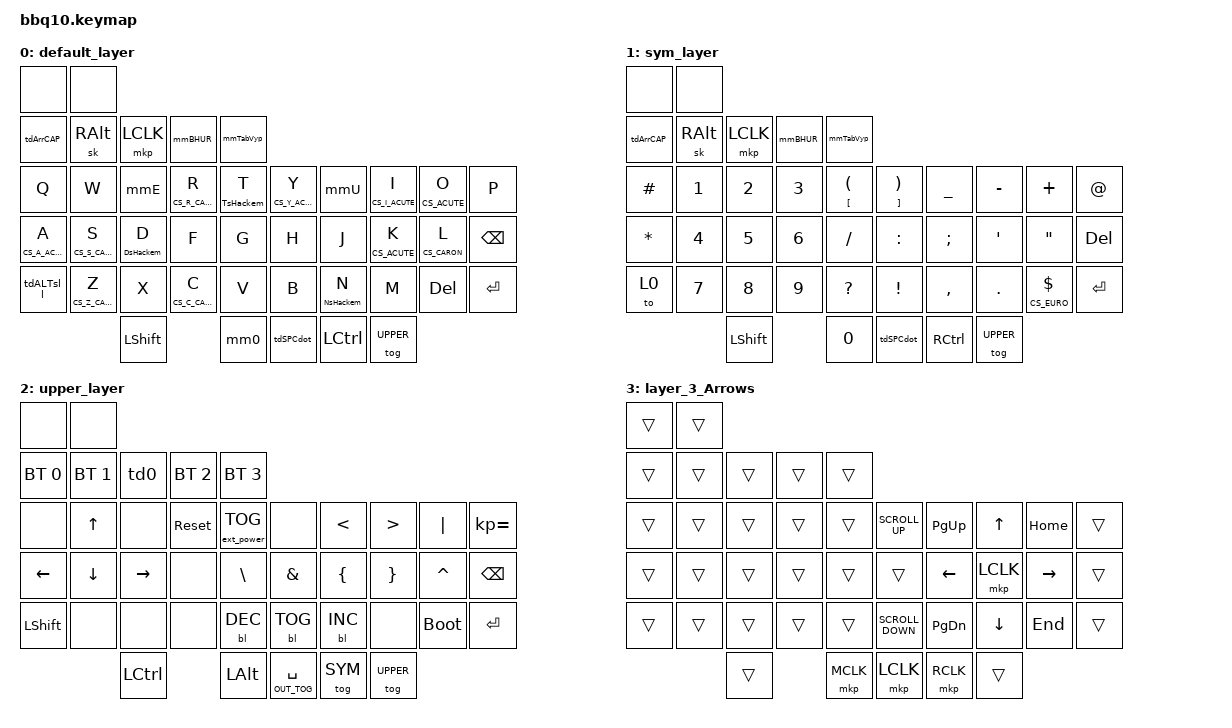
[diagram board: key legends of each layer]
/*
 * Copyright (c) 2023 ZitaoTech
 *
 * SPDX-License-Identifier: MIT
 */

#include "keys_cs_qwerty.h"
#include <behaviors.dtsi>
#include <dt-bindings/zmk/backlight.h>
#include <dt-bindings/zmk/bt.h>
#include <dt-bindings/zmk/ext_power.h>
#include <dt-bindings/zmk/keys.h>
#include <dt-bindings/zmk/mouse.h>
#include <dt-bindings/zmk/outputs.h>

#define SYM 1
#define UPPER 2

/ {
    behaviors {
        td0: tap_dance_0 {
            compatible = "zmk,behavior-tap-dance";
            #binding-cells = <0>;
            tapping-term-ms = <400>;
            bindings = <&mkp LCLK>, <&bt BT_CLR>;
        };
    };

    behaviors {
        hm: homerow_mods {
            compatible = "zmk,behavior-hold-tap";
            #binding-cells = <2>;
            tapping-term-ms = <500>;
            bindings = <&out &kp>;
        };

        mmE: mmE {
            compatible = "zmk,behavior-mod-morph";
            label = "ruzne varianty E";
            bindings = <&mt CS_E_ACUTE E>, <&kp CS_E_CARON>;

            #binding-cells = <0>;
            mods = <(MOD_RCTL|MOD_LCTL)>;
        };

        mmU: mmU {
            compatible = "zmk,behavior-mod-morph";
            label = "varianty U";
            bindings = <&mt CS_U_ACUTE U>, <&kp CS_U_RING>;

            #binding-cells = <0>;
            mods = <(MOD_LCTL|MOD_RCTL)>;
        };

        mm0: mm0 {
            compatible = "zmk,behavior-mod-morph";
            label = "SwiftKey0_3 and PrintScreen";
            bindings = <&mt LC(RA(NUMBER_3)) LC(RA(N1))>, <&kp PRINTSCREEN>;

            #binding-cells = <0>;
            mods = <(MOD_LCTL|MOD_RCTL)>;
        };

        tdSPCdot: tdSPCdot {
            compatible = "zmk,behavior-tap-dance";
            label = "TapDance Space or Dot";
            #binding-cells = <0>;
            bindings = <&kp SPACE>, <&kp CS_DOT>;
        };

        htN: htN {
            compatible = "zmk,behavior-hold-tap";
            label = "HoldTap N";
            bindings = <&NsHackem>, <&kp>;

            #binding-cells = <2>;
            tapping-term-ms = <200>;
            flavor = "tap-preferred";
        };

        htT: htT {
            compatible = "zmk,behavior-hold-tap";
            label = "holdTap T variant";
            bindings = <&TsHackem>, <&kp>;

            #binding-cells = <2>;
            tapping-term-ms = <200>;
            flavor = "tap-preferred";
        };

        htD: htD {
            compatible = "zmk,behavior-hold-tap";
            label = "HoldTap D variant";
            bindings = <&DsHackem>, <&kp>;

            #binding-cells = <2>;
            tapping-term-ms = <200>;
            flavor = "tap-preferred";
        };

        tdALTsl_l: tdALTsl_l {
            compatible = "zmk,behavior-tap-dance";
            label = "TapDance Alt Sticky Layer vs Layer";
            #binding-cells = <0>;
            tapping-term-ms = <250>;
            bindings = <&sl 1>, <&tog 1>;
        };

        tdArrCAP: tdArrCAP {
            compatible = "zmk,behavior-tap-dance";
            label = "TapDance ArrowLayer vs CAP ";
            #binding-cells = <0>;
            tapping-term-ms = <250>;
            bindings = <&mo 3>, <&kp CAPS>;
        };

        mmBHUR: mmBHUR {
            compatible = "zmk,behavior-mod-morph";
            label = "ModMorph BackHome UndoRedo";
            bindings = <&mt LG(RETURN) K_BACK>, <&mt LC(LS(Z)) LC(Z)>;

            #binding-cells = <0>;
            mods = <(MOD_LCTL|MOD_RCTL)>;
        };

        mmTabVyp: mmTabVyp {
            compatible = "zmk,behavior-mod-morph";
            label = "ModMorph TabMenu vs Switchoffs";
            bindings = <&mt K_APP TAB>, <&htAOFFtog 0 EP_TOG>;

            #binding-cells = <0>;
            mods = <(MOD_LCTL|MOD_RCTL)>;
        };

        htAOFFtog: htAOFFtog {
            compatible = "zmk,behavior-hold-tap";
            label = "HoldTap AllOff or Toggle";
            bindings = <&mSOPK>, <&ext_power>;

            #binding-cells = <2>;
            tapping-term-ms = <500>;
        };
    };

    macros {
        TsHackem: TsHackem {
            compatible = "zmk,behavior-macro";
            #binding-cells = <0>;
            bindings = <&kp CS_CARON &kp T>;
            label = "TSHACKEM";
        };

        NsHackem: NsHackem {
            compatible = "zmk,behavior-macro";
            #binding-cells = <0>;
            bindings = <&kp CS_CARON &kp N>;
            label = "NSHACKEM";
        };

        DsHackem: DsHackem {
            compatible = "zmk,behavior-macro";
            #binding-cells = <0>;
            bindings = <&kp CS_CARON &kp D>;
            label = "DSHACKEM";
        };

        mSOPK: mSOPK {
            compatible = "zmk,behavior-macro";
            #binding-cells = <0>;
            bindings = <&ext_power EP_TOG &kp K_COFFEE>;
            label = "MSOPK";
        };
    };

    keymap {
        compatible = "zmk,keymap";

        default_layer {
            bindings = <
&none             &none
&tdArrCAP         &sk RIGHT_ALT     &mkp LCLK       &mmBHUR           &mmTabVyp
&kp Q             &kp W             &mmE            &mt CS_R_CARON R  &htT 0 T   &mt CS_Y_ACUTE Y    &mmU       &mt CS_I_ACUTE I  &mt CS_ACUTE O  &kp P
&mt CS_A_ACUTE A  &mt CS_S_CARON S  &htD 0 D        &kp F             &kp G      &kp H               &kp J      &mt CS_ACUTE K    &mt CS_CARON L  &kp BSPC
&tdALTsl_l        &mt CS_Z_CARON Z  &kp X           &mt CS_C_CARON C  &kp V      &kp B               &htN 0 N   &kp M             &kp DELETE      &kp ENTER
                                    &kp LEFT_SHIFT                    &mm0       &tdSPCdot           &kp LCTRL  &tog UPPER
            >;
        };

        sym_layer {
            bindings = <
&none      &none
&tdArrCAP  &sk RIGHT_ALT  &mkp LCLK       &mmBHUR  &mmTabVyp
&kp HASH   &kp N1         &kp N2          &kp N3   &mt LBKT LPAR  &mt RBKT RPAR    &kp UNDER  &kp MINUS   &kp PLUS          &kp AT
&kp STAR   &kp N4         &kp N5          &kp N6   &kp SLASH      &kp COLON        &kp SEMI   &kp APOS    &kp DQT           &kp DEL
&to 0      &kp N7         &kp N8          &kp N9   &kp QMARK      &kp EXCL         &kp COMMA  &kp DOT     &mt CS_EURO DLLR  &kp ENTER
                          &kp LEFT_SHIFT           &kp N0         &tdSPCdot        &kp RCTRL  &tog UPPER
            >;
        };

        upper_layer {
            bindings = <
&none         &none
&bt BT_SEL 0  &bt BT_SEL 1  &td0       &bt BT_SEL 2  &bt BT_SEL 3
&none         &kp UP        &none      &sys_reset    &ext_power EP_TOG  &none                &kp LT      &kp GT      &kp PIPE     &kp KP_EQUAL
&kp LEFT      &kp DOWN      &kp RIGHT  &none         &kp BSLH           &kp AMPS             &kp LBRC    &kp RBRC    &kp CARET    &kp BSPC
&kp LSHFT     &none         &none      &none         &bl BL_DEC         &bl BL_TOG           &bl BL_INC  &none       &bootloader  &kp ENTER
                            &kp LCTRL                &kp LALT           &hm OUT_TOG SPACE    &tog SYM    &tog UPPER
            >;
        };

        layer_3_Arrows {
            bindings = <
&trans  &trans
&trans  &trans  &trans  &trans  &trans
&trans  &trans  &trans  &trans  &trans     &kp K_SCROLL_UP      &kp PAGE_UP     &kp UP          &kp HOME         &trans
&trans  &trans  &trans  &trans  &trans     &trans               &kp LEFT_ARROW  &mkp LCLK       &kp RIGHT_ARROW  &trans
&trans  &trans  &trans  &trans  &trans     &kp K_SCROLL_DOWN    &kp PAGE_DOWN   &kp DOWN_ARROW  &kp END          &trans
                &trans          &mkp MCLK  &mkp LCLK            &mkp RCLK       &trans
            >;
        };
    };
};
